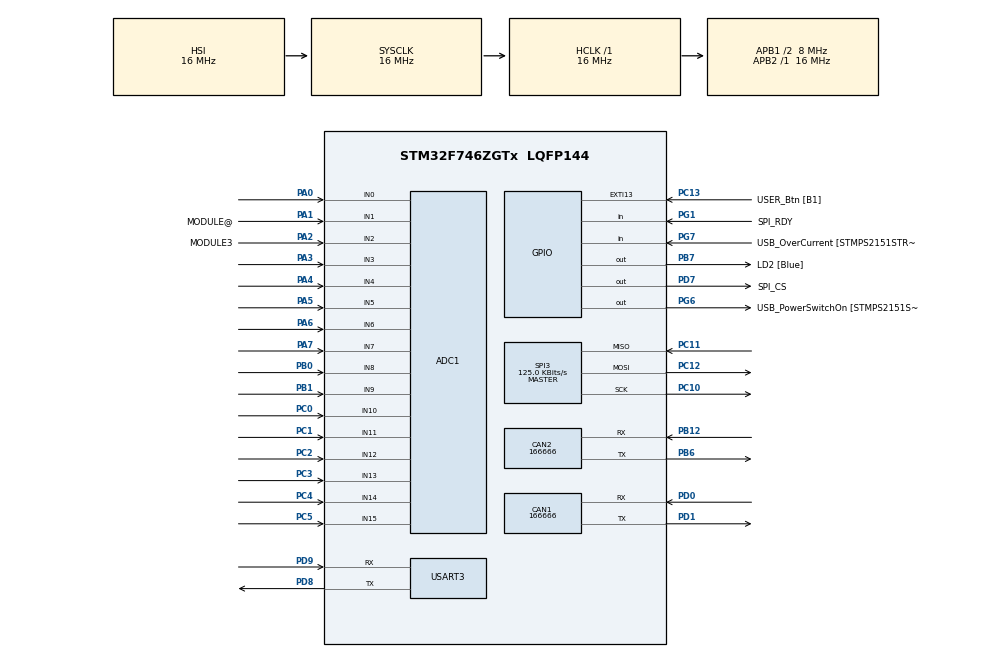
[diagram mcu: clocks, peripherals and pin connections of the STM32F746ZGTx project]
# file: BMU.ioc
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ADC1.Channel-0\#ChannelRegularConversion=ADC_CHANNEL_1
ADC1.ContinuousConvMode=DISABLE
ADC1.NbrOfConversionFlag=1
ADC1.Rank-0\#ChannelRegularConversion=1
ADC1.SamplingTime-0\#ChannelRegularConversion=ADC_SAMPLETIME_3CYCLES
ADC1.ScanConvMode=ADC_SCAN_ENABLE
ADC1.master=1
CAN1.CalculateBaudRate=166666
CAN1.CalculateTimeBit=6000
CAN1.CalculateTimeQuantum=2000.0
CAN2.CalculateBaudRate=166666
CAN2.CalculateTimeBit=6000
CAN2.CalculateTimeQuantum=2000.0
Mcu.Family=STM32F7
Mcu.Name=STM32F746ZGTx
Mcu.Package=LQFP144
NVIC.PriorityGroup=NVIC_PRIORITYGROUP_4
PA0/WKUP.Signal=ADCx_IN0
PA1.GPIO_Label=MODULE@
PA1.Signal=ADCx_IN1
PA10.GPIO_Label=USB_ID
PA10.Signal=USB_OTG_FS_ID
PA11.GPIO_Label=USB_DM
PA11.Signal=USB_OTG_FS_DM
PA12.GPIO_Label=USB_DP
PA12.Signal=USB_OTG_FS_DP
PA13.GPIO_Label=TMS
PA13.Signal=SYS_JTMS-SWDIO
PA14.GPIO_Label=TCK
PA14.Signal=SYS_JTCK-SWCLK
PA2.GPIO_Label=MODULE3
PA2.Signal=ADCx_IN2
PA3.Signal=ADCx_IN3
PA4.Signal=ADCx_IN4
PA5.Signal=ADCx_IN5
PA6.Signal=ADCx_IN6
PA7.Signal=ADCx_IN7
PA8.GPIO_Label=USB_SOF [TP1]
PA8.Signal=USB_OTG_FS_SOF
PA9.GPIO_Label=USB_VBUS
PA9.Signal=USB_OTG_FS_VBUS
PB0.Signal=ADCx_IN8
PB1.Signal=ADCx_IN9
PB12.Mode=CAN_Activate
PB12.Signal=CAN2_RX
PB13.GPIO_Label=RMII_TXD1 [LAN8742A-CZ-TR_TXD1]
PB13.Signal=ETH_TXD1
PB3.GPIO_Label=SW0
PB3.Signal=SYS_JTDO-SWO
PB6.Mode=CAN_Activate
PB6.Signal=CAN2_TX
PB7.GPIO_Label=LD2 [Blue]
PB7.Signal=GPIO_Output
PC0.Signal=ADCx_IN10
PC1.Signal=ADCx_IN11
PC10.Mode=Full_Duplex_Master
PC10.Signal=SPI3_SCK
PC11.Mode=Full_Duplex_Master
PC11.Signal=SPI3_MISO
PC12.Mode=Full_Duplex_Master
PC12.Signal=SPI3_MOSI
PC13.GPIO_Label=USER_Btn [B1]
PC13.Signal=GPXTI13
PC14/OSC32_IN.Signal=RCC_OSC32_IN
PC15/OSC32_OUT.Signal=RCC_OSC32_OUT
PC2.Signal=ADCx_IN12
PC3.Signal=ADCx_IN13
PC4.Signal=ADCx_IN14
PC5.Signal=ADCx_IN15
PD0.Mode=CAN_Activate
PD0.Signal=CAN1_RX
PD1.Mode=CAN_Activate
PD1.Signal=CAN1_TX
PD7.GPIO_Label=SPI_CS
PD7.Signal=GPIO_Output
PD8.Mode=Asynchronous
PD8.Signal=USART3_TX
PD9.Mode=Asynchronous
PD9.Signal=USART3_RX
PG1.GPIO_Label=SPI_RDY
PG1.Signal=GPIO_Input
PG11.GPIO_Label=RMII_TX_EN [LAN8742A-CZ-TR_TXEN]
PG11.Signal=ETH_TX_EN
PG13.GPIO_Label=RMII_TXD0 [LAN8742A-CZ-TR_TXD0]
PG13.Signal=ETH_TXD0
PG6.GPIO_Label=USB_PowerSwitchOn [STMPS2151STR_EN]
PG6.Signal=GPIO_Output
PG7.GPIO_Label=USB_OverCurrent [STMPS2151STR_FAULT]
PG7.Signal=GPIO_Input
PH0/OSC_IN.GPIO_Label=MCO [STM32F103CBT6_PA8]
PH0/OSC_IN.Signal=RCC_OSC_IN
PH1/OSC_OUT.Signal=RCC_OSC_OUT
ProjectManager.HeapSize=0x200
ProjectManager.StackSize=0x400
ProjectManager.TargetToolchain=STM32CubeIDE
RCC.48MHZClocksFreq_Value=24000000
RCC.AHBFreq_Value=16000000
RCC.APB1CLKDivider=RCC_HCLK_DIV2
RCC.APB1Freq_Value=8000000
RCC.APB1TimFreq_Value=16000000
RCC.APB2Freq_Value=16000000
RCC.APB2TimFreq_Value=16000000
RCC.CortexFreq_Value=16000000
RCC.HCLKFreq_Value=16000000
RCC.HSE_VALUE=8000000
RCC.HSI_VALUE=16000000
RCC.LSE_VALUE=32768
RCC.PLLMUL=RCC_PLL_MUL9
RCC.PRESCALERUSB=RCC_USBCLKSOURCE_PLL_DIV1_5
RCC.SYSCLKFreq_VALUE=16000000
RCC.SYSCLKSourceVirtual=RCC_SYSCLKSOURCE_PLLCLK
RCC.USBFreq_Value=96000000
RCC.VCOOutputFreq_Value=192000000
SH.ADCx_IN0.0=ADC1_IN0,IN0
SH.ADCx_IN1.0=ADC1_IN1,IN1
SH.ADCx_IN10.0=ADC1_IN10,IN10
SH.ADCx_IN11.0=ADC1_IN11,IN11
SH.ADCx_IN12.0=ADC1_IN12,IN12
SH.ADCx_IN13.0=ADC1_IN13,IN13
SH.ADCx_IN14.0=ADC1_IN14,IN14
SH.ADCx_IN15.0=ADC1_IN15,IN15
SH.ADCx_IN2.0=ADC1_IN2,IN2
SH.ADCx_IN3.0=ADC1_IN3,IN3
SH.ADCx_IN4.0=ADC1_IN4,IN4
SH.ADCx_IN5.0=ADC1_IN5,IN5
SH.ADCx_IN6.0=ADC1_IN6,IN6
SH.ADCx_IN7.0=ADC1_IN7,IN7
SH.ADCx_IN8.0=ADC1_IN8,IN8
SH.ADCx_IN9.0=ADC1_IN9,IN9
SPI3.BaudRatePrescaler=SPI_BAUDRATEPRESCALER_64
SPI3.CalculateBaudRate=125.0 KBits/s
SPI3.DataSize=SPI_DATASIZE_8BIT
SPI3.Direction=SPI_DIRECTION_2LINES
SPI3.Mode=SPI_MODE_MASTER
SPI3.NSSPMode=SPI_NSS_PULSE_DISABLE
SPI3.VirtualType=VM_MASTER
TIM1.Period=0xffff-1
TIM1.Prescaler=72-1
USART3.VirtualMode-Asynchronous=VM_ASYNC
VP_TIM1_VS_ClockSourceINT.Mode=Internal
board=NUCLEO-F746ZG

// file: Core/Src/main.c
/* USER CODE BEGIN Header */
/**
 ******************************************************************************
 * @file           : main.c
 * @brief          : Main program body
 ******************************************************************************
 * @attention
 *
 * Copyright (c) 2023 STMicroelectronics.
 * All rights reserved.
 *
 * This software is licensed under terms that can be found in the LICENSE file
 * in the root directory of this software component.
 * If no LICENSE file comes with this software, it is provided AS-IS.
 *
 ******************************************************************************
 */
/* USER CODE END Header */
#include "main.h"

/* USER CODE BEGIN Includes */
#include <stdio.h>
#include "bq79616.h"
#include "bq79600.h"
#include <stdint.h>
#include <stdbool.h>
/* USER CODE END Includes */

/* USER CODE BEGIN PM */
int Max_Channels = 16;

/* USER CODE END PM */

ADC_HandleTypeDef hadc1;

CAN_HandleTypeDef hcan1;
CAN_HandleTypeDef hcan2;

SPI_HandleTypeDef hspi3;

TIM_HandleTypeDef htim1;

UART_HandleTypeDef huart3;

/* USER CODE BEGIN PV */
uint16_t adcValue[16];

/* USER CODE END PV */

void SystemClock_Config(void);
static void MX_GPIO_Init(void);
static void MX_ADC1_Init(void);
static void MX_CAN1_Init(void);
static void MX_CAN2_Init(void);
static void MX_SPI3_Init(void);
static void MX_USART3_UART_Init(void);
static void MX_TIM1_Init(void);

/* USER CODE BEGIN 0 */
  // FSM Creation

  // Creating variables
  bool init_flag;
  bool low_idle_flag;
  bool high_idle_flag;
  bool ready_flag;
  bool discharge_flag;
  bool charging_flag;
  bool fault_flag;

  char uart_buf[50];
  int uart_buf_len;

  // Creating helper functions
  /**
   * @brief  Call SpiWriteReg() to actively make BQ's balance cells.
   * @param  none
   * @retval None
   */
  void balanceCells(){}

  /**
   * @brief  Checks for message from VCU through CAN about starting car.
   * @param  none
   * @retval Bool value indicating whether car is started or not.
   */
  bool CAN_CheckStart(){}

  /**
   * @brief  Send message to BQ's to get voltage values of battery cells.
   * @param  None
   * @retval data type tbd, list of voltage values from all of the cells in the BMS.
   */
  void SpiReadReg_GetVolt(){}
  void SpiReadReg_GetTemp(){}
  void SpiReadReg_GetCurrent(){}

  void CAN_SendVoltVCU(){}
  void CAN_SendTempVCU(){}
  void CAN_SendCurrentVCU(){}

  void SpiWriteReg_SetVolt(){}
  void SpiWriteReg_SetTemp(){}
  void SpiWriteReg_SetCurrent(){}

  // FSM/Tick Function
  enum States
  {
    INIT,
    LOW_IDLE,
    HIGH_IDLE,
    READY,
    DISCHARGE,
    CHARGING,
    FAULT
  } state = INIT;

  void BMS_Tick()
  {
    // Transistions
    switch (state)
    {

    case INIT:
      // call wake ping function, spi clear comm, and auto address function
      SpiWake79600();
      SpiCommClear79600();
      SpiAutoAddress();

      // going from init --> low idle
      state = LOW_IDLE;
      break;

    case LOW_IDLE:
    // balancing cells, waiting to boot message from VCU via CAN,
    // also ping to switch to charging state
      if (charging_flag)
      {
        state = CHARGING;
      }
      else if (fault_flag)
      {
        state = FAULT;
      }
      else if (CAN_CheckStart())
      {
        state = HIGH_IDLE;
      }
      break;

    case HIGH_IDLE:
    // balancing cells, also ping to switch to charging state at higher frequency and
    // constantly send message to get values for temperature, voltage, and current
    // (Make dummy function for each that will call SpiReadReg in a specific way basically),
    // then send those values through CAN (Make dummy function for CAN message sending like [CAN_SendVoltVCU])
      if (charging_flag)
      {
        state = CHARGING;
      }
      else if (ready_flag)
      {
        state = READY;
      }
      else if (fault_flag)
      {
        state = FAULT;
      }
      break;

    case READY:
    // Able to discharge, when car is running but no acceleration
      if (discharge_flag)
      {
        state = DISCHARGE;
      }
      else if (high_idle_flag)
      {
        state = HIGH_IDLE;
      }
      else if (fault_flag)
      {
          state = FAULT;
      }
    break;

    case DISCHARGE:
    // currently accelerating
      if (ready_flag)
      {
        state = READY;
      }
      else if (fault_flag)
      {
        state = FAULT;
      }
      break;

    case CHARGING:
    // Constantly send message to actively cell balance while charging is happening
    // (Make dummy function for it that will call SpiWriteReg)
      if (low_idle_flag)
      {
        state = LOW_IDLE;
      }
      else if (high_idle_flag)
      {
        state = HIGH_IDLE;
      }
      else if (fault_flag)
      {
        state = FAULT;
      }
      break;

    case FAULT:
    // If at any point fault flag set, switch and stop working, send fault message via CAN to VCU
      strcpy((char *)uart_buf, "FAULT\r\n");
      uart_buf_len = strlen((char *)uart_buf);
      HAL_UART_Transmit(&huart3, (uint8_t *)uart_buf, uart_buf_len, 100);
      break;

    default:
      strcpy((char *)uart_buf, "DEFAULT\r\n");
      uart_buf_len = strlen((char *)uart_buf);
      HAL_UART_Transmit(&huart3, (uint8_t *)uart_buf, uart_buf_len, 100);
      break;
    }

    // Actions
    switch (state)
    {
    case INIT:
      strcpy((char *)uart_buf, "INIT\r\n");
      uart_buf_len = strlen((char *)uart_buf);
      HAL_UART_Transmit(&huart3, (uint8_t *)uart_buf, uart_buf_len, 100);
      break;

    case LOW_IDLE:
      balanceCells();
      strcpy((char *)uart_buf, "LOW IDLE\r\n");
      uart_buf_len = strlen((char *)uart_buf);
      HAL_UART_Transmit(&huart3, (uint8_t *)uart_buf, uart_buf_len, 100);
      break;

    case HIGH_IDLE:
      balanceCells();

      SpiReadReg_GetVolt();
      SpiReadReg_GetTemp();
      SpiReadReg_GetCurrent();

      CAN_SendVoltVCU();
      CAN_SendTempVCU();
      CAN_SendCurrentVCU();

      strcpy((char *)uart_buf, "HIGH IDLE\r\n");
      uart_buf_len = strlen((char *)uart_buf);
      HAL_UART_Transmit(&huart3, (uint8_t *)uart_buf, uart_buf_len, 100);
      break;

    case READY:
      strcpy((char *)uart_buf, "READY\r\n");
      uart_buf_len = strlen((char *)uart_buf);
      HAL_UART_Transmit(&huart3, (uint8_t *)uart_buf, uart_buf_len, 100);
      break;

    case DISCHARGE:
      strcpy((char *)uart_buf, "DISCHARGE\r\n");
      uart_buf_len = strlen((char *)uart_buf);
      HAL_UART_Transmit(&huart3, (uint8_t *)uart_buf, uart_buf_len, 100);
      break;

    case CHARGING:
      SpiWriteReg_SetTemp();
      SpiWriteReg_SetVolt();
      SpiWriteReg_SetCurrent();

      strcpy((char *)uart_buf, "CHARGING\r\n");
      uart_buf_len = strlen((char *)uart_buf);
      HAL_UART_Transmit(&huart3, (uint8_t *)uart_buf, uart_buf_len, 100);
      break;

    case FAULT:
      break;

    default:
      break;
    }
  }
/* USER CODE END 0 */

int main(void)
{

  /* MCU Configuration--------------------------------------------------------*/

  /* Reset of all peripherals, Initializes the Flash interface and the Systick. */
  HAL_Init();

  /* Configure the system clock */
  SystemClock_Config();

  /* Initialize all configured peripherals */
  MX_GPIO_Init();
  MX_ADC1_Init();
  MX_CAN1_Init();
  MX_CAN2_Init();
  MX_SPI3_Init();
  MX_USART3_UART_Init();
  MX_TIM1_Init();
  /* USER CODE BEGIN 2 */
  void select_adc_channel(int channel)
  {
    ADC_ChannelConfTypeDef sConfig = {0};
    sConfig.SamplingTime = ADC_SAMPLETIME_15CYCLES;
    switch (channel)
    {
    case 1:
      sConfig.Channel = ADC_CHANNEL_0;
      sConfig.Rank = 1;

      if (HAL_ADC_ConfigChannel(&hadc1, &sConfig) != HAL_OK)
      {
        Error_Handler();
      }
      break;

    case 2:
      /** Configure for the selected ADC regular channel its corresponding rank in the sequencer and its sample time.
       */
      sConfig.Channel = ADC_CHANNEL_1;
      sConfig.Rank = 1;
      if (HAL_ADC_ConfigChannel(&hadc1, &sConfig) != HAL_OK)
      {
        Error_Handler();
      }
      break;
      /** Configure for the selected ADC regular channel its corresponding rank in the sequencer and its sample time.
       */
    case 3:
      sConfig.Channel = ADC_CHANNEL_2;
      sConfig.Rank = 1;
      if (HAL_ADC_ConfigChannel(&hadc1, &sConfig) != HAL_OK)
      {
        Error_Handler();
      }
      break;
      /** Configure for the selected ADC regular channel its corresponding rank in the sequencer and its sample time.
       */
    case 4:
      sConfig.Channel = ADC_CHANNEL_3;
      sConfig.Rank = 1;
      if (HAL_ADC_ConfigChannel(&hadc1, &sConfig) != HAL_OK)
      {
        Error_Handler();
      }
      break;
      /** Configure for the selected ADC regular channel its corresponding rank in the sequencer and its sample time.
       */
    case 5:
      sConfig.Channel = ADC_CHANNEL_4;
      sConfig.Rank = 1;
      if (HAL_ADC_ConfigChannel(&hadc1, &sConfig) != HAL_OK)
      {
        Error_Handler();
      }
      break;
      /** Configure for the selected ADC regular channel its corresponding rank in the sequencer and its sample time.
       */
    case 6:
      sConfig.Channel = ADC_CHANNEL_5;
      sConfig.Rank = 1;
      if (HAL_ADC_ConfigChannel(&hadc1, &sConfig) != HAL_OK)
      {
        Error_Handler();
      }
      break;
      /** Configure for the selected ADC regular channel its corresponding rank in the sequencer and its sample time.
       */
    case 7:
      sConfig.Channel = ADC_CHANNEL_6;
      sConfig.Rank = 1;
      if (HAL_ADC_ConfigChannel(&hadc1, &sConfig) != HAL_OK)
      {
        Error_Handler();
      }
      break;
      /** Configure for the selected ADC regular channel its corresponding rank in the sequencer and its sample time.
       */
    case 8:
      sConfig.Channel = ADC_CHANNEL_7;
      sConfig.Rank = 1;
      if (HAL_ADC_ConfigChannel(&hadc1, &sConfig) != HAL_OK)
      {
        Error_Handler();
      }
      break;
      /** Configure for the selected ADC regular channel its corresponding rank in the sequencer and its sample time.
       */
    case 9:
      sConfig.Channel = ADC_CHANNEL_8;
      sConfig.Rank = 1;
      if (HAL_ADC_ConfigChannel(&hadc1, &sConfig) != HAL_OK)
      {
        Error_Handler();
      }
      break;
      /** Configure for the selected ADC regular channel its corresponding rank in the sequencer and its sample time.
       */
    case 10:
      sConfig.Channel = ADC_CHANNEL_9;
      sConfig.Rank = 1;
      if (HAL_ADC_ConfigChannel(&hadc1, &sConfig) != HAL_OK)
      {
        Error_Handler();
      }
      break;
      /** Configure for the selected ADC regular channel its corresponding rank in the sequencer and its sample time.
       */
    case 11:
      sConfig.Channel = ADC_CHANNEL_10;
      sConfig.Rank = 1;
      if (HAL_ADC_ConfigChannel(&hadc1, &sConfig) != HAL_OK)
      {
        Error_Handler();
      }
      break;
      /** Configure for the selected ADC regular channel its corresponding rank in the sequencer and its sample time.
       */
    case 12:
      sConfig.Channel = ADC_CHANNEL_11;
      sConfig.Rank = 1;
      if (HAL_ADC_ConfigChannel(&hadc1, &sConfig) != HAL_OK)
      {
        Error_Handler();
      }
      break;
      /** Configure for the selected ADC regular channel its corresponding rank in the sequencer and its sample time.
       */
    case 13:
      sConfig.Channel = ADC_CHANNEL_12;
      sConfig.Rank = 1;
      if (HAL_ADC_ConfigChannel(&hadc1, &sConfig) != HAL_OK)
      {
        Error_Handler();
      }
      break;
      /** Configure for the selected ADC regular channel its corresponding rank in the sequencer and its sample time.
       */
    case 14:
      sConfig.Channel = ADC_CHANNEL_13;
      sConfig.Rank = 1;
      if (HAL_ADC_ConfigChannel(&hadc1, &sConfig) != HAL_OK)
      {
        Error_Handler();
      }
      break;
      /** Configure for the selected ADC regular channel its corresponding rank in the sequencer and its sample time.
       */
    case 15:
      sConfig.Channel = ADC_CHANNEL_14;
      sConfig.Rank = 1;
      if (HAL_ADC_ConfigChannel(&hadc1, &sConfig) != HAL_OK)
      {
        Error_Handler();
      }
      break;

    case 16:
      sConfig.Channel = ADC_CHANNEL_15;
      sConfig.Rank = 1;
      if (HAL_ADC_ConfigChannel(&hadc1, &sConfig) != HAL_OK)
      {
        Error_Handler();
      }
      break;

    default:
      break;
    }
  }

  void CollectADCData()
  {
    for (int i = 0; i < Max_Channels; i++)
    {
      select_adc_channel(i + 1);
      HAL_ADC_Start(&hadc1);
      HAL_ADC_PollForConversion(&hadc1, HAL_MAX_DELAY);
      adcValue[i] = HAL_ADC_GetValue(&hadc1) % 4;
      HAL_ADC_Stop(&hadc1);
    }
  }

  // Starting timer for delayus in bq79616.c
  HAL_TIM_Base_Start(&htim1);
  /* USER CODE END 2 */
  /* Infinite loop */
  /* USER CODE BEGIN WHILE */
  while (1)
  {
    BMS_Tick();
    HAL_Delay(1000);
    // Testing
    /* USER CODE END WHILE */

  }
}

void SystemClock_Config(void)
{
  RCC_OscInitTypeDef RCC_OscInitStruct = {0};
  RCC_ClkInitTypeDef RCC_ClkInitStruct = {0};

  /** Configure the main internal regulator output voltage
   */
  __HAL_RCC_PWR_CLK_ENABLE();
  __HAL_PWR_VOLTAGESCALING_CONFIG(PWR_REGULATOR_VOLTAGE_SCALE3);

  /** Initializes the RCC Oscillators according to the specified parameters
   * in the RCC_OscInitTypeDef structure.
   */
  RCC_OscInitStruct.OscillatorType = RCC_OSCILLATORTYPE_HSI;
  RCC_OscInitStruct.HSIState = RCC_HSI_ON;
  RCC_OscInitStruct.HSICalibrationValue = RCC_HSICALIBRATION_DEFAULT;
  RCC_OscInitStruct.PLL.PLLState = RCC_PLL_NONE;
  if (HAL_RCC_OscConfig(&RCC_OscInitStruct) != HAL_OK)
  {
    Error_Handler();
  }

  /** Initializes the CPU, AHB and APB buses clocks
   */
  RCC_ClkInitStruct.ClockType = RCC_CLOCKTYPE_HCLK | RCC_CLOCKTYPE_SYSCLK | RCC_CLOCKTYPE_PCLK1 | RCC_CLOCKTYPE_PCLK2;
  RCC_ClkInitStruct.SYSCLKSource = RCC_SYSCLKSOURCE_HSI;
  RCC_ClkInitStruct.AHBCLKDivider = RCC_SYSCLK_DIV1;
  RCC_ClkInitStruct.APB1CLKDivider = RCC_HCLK_DIV2;
  RCC_ClkInitStruct.APB2CLKDivider = RCC_HCLK_DIV1;

  if (HAL_RCC_ClockConfig(&RCC_ClkInitStruct, FLASH_LATENCY_0) != HAL_OK)
  {
    Error_Handler();
  }
}

static void MX_ADC1_Init(void)
{

  ADC_ChannelConfTypeDef sConfig = {0};

  /** Configure the global features of the ADC (Clock, Resolution, Data Alignment and number of conversion)
   */
  hadc1.Instance = ADC1;
  hadc1.Init.ClockPrescaler = ADC_CLOCK_SYNC_PCLK_DIV2;
  hadc1.Init.Resolution = ADC_RESOLUTION_12B;
  hadc1.Init.ScanConvMode = ADC_SCAN_ENABLE;
  hadc1.Init.ContinuousConvMode = DISABLE;
  hadc1.Init.DiscontinuousConvMode = DISABLE;
  hadc1.Init.ExternalTrigConvEdge = ADC_EXTERNALTRIGCONVEDGE_NONE;
  hadc1.Init.ExternalTrigConv = ADC_SOFTWARE_START;
  hadc1.Init.DataAlign = ADC_DATAALIGN_RIGHT;
  hadc1.Init.NbrOfConversion = 1;
  hadc1.Init.DMAContinuousRequests = DISABLE;
  hadc1.Init.EOCSelection = ADC_EOC_SINGLE_CONV;
  if (HAL_ADC_Init(&hadc1) != HAL_OK)
  {
    Error_Handler();
  }

  /** Configure for the selected ADC regular channel its corresponding rank in the sequencer and its sample time.
   */
  sConfig.Channel = ADC_CHANNEL_1;
  sConfig.Rank = ADC_REGULAR_RANK_1;
  sConfig.SamplingTime = ADC_SAMPLETIME_3CYCLES;
  if (HAL_ADC_ConfigChannel(&hadc1, &sConfig) != HAL_OK)
  {
    Error_Handler();
  }
}

static void MX_CAN1_Init(void)
{

  hcan1.Instance = CAN1;
  hcan1.Init.Prescaler = 16;
  hcan1.Init.Mode = CAN_MODE_NORMAL;
  hcan1.Init.SyncJumpWidth = CAN_SJW_1TQ;
  hcan1.Init.TimeSeg1 = CAN_BS1_1TQ;
  hcan1.Init.TimeSeg2 = CAN_BS2_1TQ;
  hcan1.Init.TimeTriggeredMode = DISABLE;
  hcan1.Init.AutoBusOff = DISABLE;
  hcan1.Init.AutoWakeUp = DISABLE;
  hcan1.Init.AutoRetransmission = DISABLE;
  hcan1.Init.ReceiveFifoLocked = DISABLE;
  hcan1.Init.TransmitFifoPriority = DISABLE;
  if (HAL_CAN_Init(&hcan1) != HAL_OK)
  {
    Error_Handler();
  }
}

static void MX_CAN2_Init(void)
{

  hcan2.Instance = CAN2;
  hcan2.Init.Prescaler = 16;
  hcan2.Init.Mode = CAN_MODE_NORMAL;
  hcan2.Init.SyncJumpWidth = CAN_SJW_1TQ;
  hcan2.Init.TimeSeg1 = CAN_BS1_1TQ;
  hcan2.Init.TimeSeg2 = CAN_BS2_1TQ;
  hcan2.Init.TimeTriggeredMode = DISABLE;
  hcan2.Init.AutoBusOff = DISABLE;
  hcan2.Init.AutoWakeUp = DISABLE;
  hcan2.Init.AutoRetransmission = DISABLE;
  hcan2.Init.ReceiveFifoLocked = DISABLE;
  hcan2.Init.TransmitFifoPriority = DISABLE;
  if (HAL_CAN_Init(&hcan2) != HAL_OK)
  {
    Error_Handler();
  }
}

static void MX_SPI3_Init(void)
{

  /* SPI3 parameter configuration*/
  hspi3.Instance = SPI3;
  hspi3.Init.Mode = SPI_MODE_MASTER;
  hspi3.Init.Direction = SPI_DIRECTION_2LINES;
  hspi3.Init.DataSize = SPI_DATASIZE_8BIT;
  hspi3.Init.CLKPolarity = SPI_POLARITY_LOW;
  hspi3.Init.CLKPhase = SPI_PHASE_1EDGE;
  hspi3.Init.NSS = SPI_NSS_SOFT;
  hspi3.Init.BaudRatePrescaler = SPI_BAUDRATEPRESCALER_64;
  hspi3.Init.FirstBit = SPI_FIRSTBIT_MSB;
  hspi3.Init.TIMode = SPI_TIMODE_DISABLE;
  hspi3.Init.CRCCalculation = SPI_CRCCALCULATION_DISABLE;
  hspi3.Init.CRCPolynomial = 7;
  hspi3.Init.CRCLength = SPI_CRC_LENGTH_DATASIZE;
  hspi3.Init.NSSPMode = SPI_NSS_PULSE_DISABLE;
  if (HAL_SPI_Init(&hspi3) != HAL_OK)
  {
    Error_Handler();
  }
}

static void MX_TIM1_Init(void)
{

  TIM_ClockConfigTypeDef sClockSourceConfig = {0};
  TIM_MasterConfigTypeDef sMasterConfig = {0};

  htim1.Instance = TIM1;
  htim1.Init.Prescaler = 72 - 1;
  htim1.Init.CounterMode = TIM_COUNTERMODE_UP;
  htim1.Init.Period = 0xffff - 1;
  htim1.Init.ClockDivision = TIM_CLOCKDIVISION_DIV1;
  htim1.Init.RepetitionCounter = 0;
  htim1.Init.AutoReloadPreload = TIM_AUTORELOAD_PRELOAD_DISABLE;
  if (HAL_TIM_Base_Init(&htim1) != HAL_OK)
  {
    Error_Handler();
  }
  sClockSourceConfig.ClockSource = TIM_CLOCKSOURCE_INTERNAL;
  if (HAL_TIM_ConfigClockSource(&htim1, &sClockSourceConfig) != HAL_OK)
  {
    Error_Handler();
  }
  sMasterConfig.MasterOutputTrigger = TIM_TRGO_RESET;
  sMasterConfig.MasterOutputTrigger2 = TIM_TRGO2_RESET;
  sMasterConfig.MasterSlaveMode = TIM_MASTERSLAVEMODE_DISABLE;
  if (HAL_TIMEx_MasterConfigSynchronization(&htim1, &sMasterConfig) != HAL_OK)
  {
    Error_Handler();
  }
}

static void MX_USART3_UART_Init(void)
{

  huart3.Instance = USART3;
  huart3.Init.BaudRate = 115200;
  huart3.Init.WordLength = UART_WORDLENGTH_8B;
  huart3.Init.StopBits = UART_STOPBITS_1;
  huart3.Init.Parity = UART_PARITY_NONE;
  huart3.Init.Mode = UART_MODE_TX_RX;
  huart3.Init.HwFlowCtl = UART_HWCONTROL_NONE;
  huart3.Init.OverSampling = UART_OVERSAMPLING_16;
  huart3.Init.OneBitSampling = UART_ONE_BIT_SAMPLE_DISABLE;
  huart3.AdvancedInit.AdvFeatureInit = UART_ADVFEATURE_NO_INIT;
  if (HAL_UART_Init(&huart3) != HAL_OK)
  {
    Error_Handler();
  }
}

static void MX_GPIO_Init(void)
{
  GPIO_InitTypeDef GPIO_InitStruct = {0};

  /* GPIO Ports Clock Enable */
  __HAL_RCC_GPIOC_CLK_ENABLE();
  __HAL_RCC_GPIOH_CLK_ENABLE();
  __HAL_RCC_GPIOA_CLK_ENABLE();
  __HAL_RCC_GPIOB_CLK_ENABLE();
  __HAL_RCC_GPIOG_CLK_ENABLE();
  __HAL_RCC_GPIOD_CLK_ENABLE();

  /*Configure GPIO pin Output Level */
  HAL_GPIO_WritePin(USB_PowerSwitchOn_GPIO_Port, USB_PowerSwitchOn_Pin, GPIO_PIN_RESET);

  /*Configure GPIO pin Output Level */
  HAL_GPIO_WritePin(SPI_CS_GPIO_Port, SPI_CS_Pin, GPIO_PIN_RESET);

  /*Configure GPIO pin Output Level */
  HAL_GPIO_WritePin(LD2_GPIO_Port, LD2_Pin, GPIO_PIN_RESET);

  /*Configure GPIO pin : USER_Btn_Pin */
  GPIO_InitStruct.Pin = USER_Btn_Pin;
  GPIO_InitStruct.Mode = GPIO_MODE_IT_RISING;
  GPIO_InitStruct.Pull = GPIO_NOPULL;
  HAL_GPIO_Init(USER_Btn_GPIO_Port, &GPIO_InitStruct);

  /*Configure GPIO pins : SPI_RDY_Pin USB_OverCurrent_Pin */
  GPIO_InitStruct.Pin = SPI_RDY_Pin | USB_OverCurrent_Pin;
  GPIO_InitStruct.Mode = GPIO_MODE_INPUT;
  GPIO_InitStruct.Pull = GPIO_NOPULL;
  HAL_GPIO_Init(GPIOG, &GPIO_InitStruct);

  /*Configure GPIO pin : RMII_TXD1_Pin */
  GPIO_InitStruct.Pin = RMII_TXD1_Pin;
  GPIO_InitStruct.Mode = GPIO_MODE_AF_PP;
  GPIO_InitStruct.Pull = GPIO_NOPULL;
  GPIO_InitStruct.Speed = GPIO_SPEED_FREQ_VERY_HIGH;
  GPIO_InitStruct.Alternate = GPIO_AF11_ETH;
  HAL_GPIO_Init(RMII_TXD1_GPIO_Port, &GPIO_InitStruct);

  /*Configure GPIO pin : USB_PowerSwitchOn_Pin */
  GPIO_InitStruct.Pin = USB_PowerSwitchOn_Pin;
  GPIO_InitStruct.Mode = GPIO_MODE_OUTPUT_PP;
  GPIO_InitStruct.Pull = GPIO_NOPULL;
  GPIO_InitStruct.Speed = GPIO_SPEED_FREQ_LOW;
  HAL_GPIO_Init(USB_PowerSwitchOn_GPIO_Port, &GPIO_InitStruct);

  /*Configure GPIO pins : USB_SOF_Pin USB_ID_Pin USB_DM_Pin USB_DP_Pin */
  GPIO_InitStruct.Pin = USB_SOF_Pin | USB_ID_Pin | USB_DM_Pin | USB_DP_Pin;
  GPIO_InitStruct.Mode = GPIO_MODE_AF_PP;
  GPIO_InitStruct.Pull = GPIO_NOPULL;
  GPIO_InitStruct.Speed = GPIO_SPEED_FREQ_VERY_HIGH;
  GPIO_InitStruct.Alternate = GPIO_AF10_OTG_FS;
  HAL_GPIO_Init(GPIOA, &GPIO_InitStruct);

  /*Configure GPIO pin : USB_VBUS_Pin */
  GPIO_InitStruct.Pin = USB_VBUS_Pin;
  GPIO_InitStruct.Mode = GPIO_MODE_INPUT;
  GPIO_InitStruct.Pull = GPIO_NOPULL;
  HAL_GPIO_Init(USB_VBUS_GPIO_Port, &GPIO_InitStruct);

  /*Configure GPIO pin : SPI_CS_Pin */
  GPIO_InitStruct.Pin = SPI_CS_Pin;
  GPIO_InitStruct.Mode = GPIO_MODE_OUTPUT_PP;
  GPIO_InitStruct.Pull = GPIO_NOPULL;
  GPIO_InitStruct.Speed = GPIO_SPEED_FREQ_LOW;
  HAL_GPIO_Init(SPI_CS_GPIO_Port, &GPIO_InitStruct);

  /*Configure GPIO pins : RMII_TX_EN_Pin RMII_TXD0_Pin */
  GPIO_InitStruct.Pin = RMII_TX_EN_Pin | RMII_TXD0_Pin;
  GPIO_InitStruct.Mode = GPIO_MODE_AF_PP;
  GPIO_InitStruct.Pull = GPIO_NOPULL;
  GPIO_InitStruct.Speed = GPIO_SPEED_FREQ_VERY_HIGH;
  GPIO_InitStruct.Alternate = GPIO_AF11_ETH;
  HAL_GPIO_Init(GPIOG, &GPIO_InitStruct);

  /*Configure GPIO pin : LD2_Pin */
  GPIO_InitStruct.Pin = LD2_Pin;
  GPIO_InitStruct.Mode = GPIO_MODE_OUTPUT_PP;
  GPIO_InitStruct.Pull = GPIO_NOPULL;
  GPIO_InitStruct.Speed = GPIO_SPEED_FREQ_LOW;
  HAL_GPIO_Init(LD2_GPIO_Port, &GPIO_InitStruct);

}

void Error_Handler(void)
{
  __disable_irq();
  while (1)
  {
  }
}
